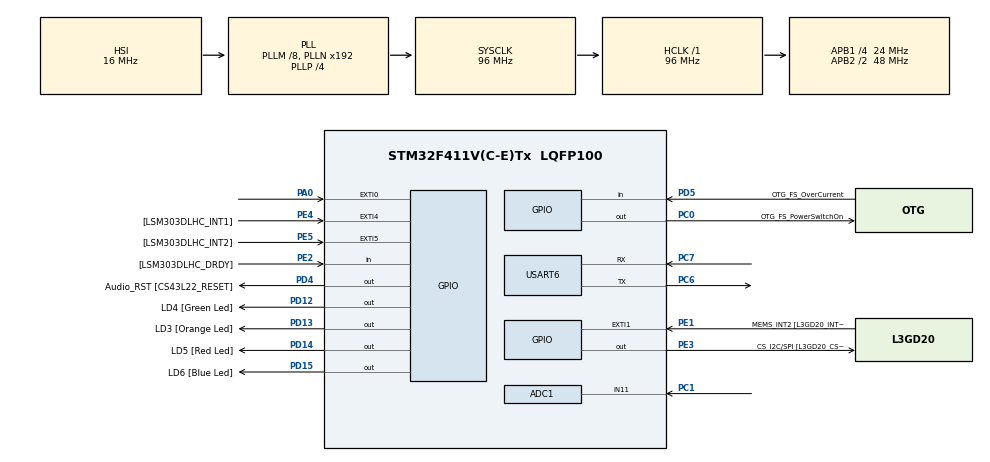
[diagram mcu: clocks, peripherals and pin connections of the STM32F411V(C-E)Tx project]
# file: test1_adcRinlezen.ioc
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ADC1.Channel-0\#ChannelRegularConversion=ADC_CHANNEL_11
ADC1.ContinuousConvMode=ENABLE
ADC1.DMAContinuousRequests=DISABLE
ADC1.NbrOfConversion=1
ADC1.NbrOfConversionFlag=1
ADC1.Rank-0\#ChannelRegularConversion=1
ADC1.Resolution=ADC_RESOLUTION8b
ADC1.SamplingTime-0\#ChannelRegularConversion=ADC_SAMPLETIME_144CYCLES
ADC1.ScanConvMode=DISABLE
ADC1.master=1
Mcu.Family=STM32F4
Mcu.Name=STM32F411V(C-E)Tx
Mcu.Package=LQFP100
NVIC.PriorityGroup=NVIC_PRIORITYGROUP_0
PA0-WKUP.GPIO_ModeDefaultEXTI=GPIO_MODE_EVT_RISING
PA0-WKUP.Signal=GPXTI0
PA10.GPIO_Label=OTG_FS_ID
PA10.Signal=USB_OTG_FS_ID
PA11.GPIO_Label=OTG_FS_DM
PA11.Signal=USB_OTG_FS_DM
PA12.GPIO_Label=OTG_FS_DP
PA12.Signal=USB_OTG_FS_DP
PA13.GPIO_Label=SWDIO
PA13.Signal=SYS_JTMS-SWDIO
PA14.GPIO_Label=SWCLK
PA14.Signal=SYS_JTCK-SWCLK
PA4.GPIO_Label=I2S3_WS [CS43L22_LRCK]
PA4.GPIO_Mode=GPIO_MODE_AF_PP
PA4.GPIO_PuPd=GPIO_NOPULL
PA4.GPIO_Speed=GPIO_SPEED_LOW
PA4.Signal=I2S3_WS
PA5.GPIO_Label=SPI1_SCK [L3GD20_SC/SPC]
PA5.Signal=SPI1_SCK
PA6.GPIO_Label=SPI1_MISO [L3GD20_AS0/SDO]
PA6.Signal=SPI1_MISO
PA7.GPIO_Label=SPI1_MOSI [L3GD20_SDA/SDI/SDO]
PA7.Signal=SPI1_MOSI
PA9.GPIO_Label=VBUS_FS
PA9.Signal=USB_OTG_FS_VBUS
PB10.GPIO_Label=CLK_IN [MP45DT02_CLK]
PB10.Signal=I2S2_CK
PB12.Signal=I2S2_WS
PB3.GPIO_Label=SWO
PB3.Signal=SYS_JTDO-SWO
PB6.GPIO_Label=Audio_SCL [CS43L22_SCL]
PB6.GPIO_Mode=GPIO_MODE_AF_OD
PB6.GPIO_PuPd=GPIO_NOPULL
PB6.GPIO_Speed=GPIO_SPEED_LOW
PB6.Signal=I2C1_SCL
PB9.GPIO_Label=Audio_SDA [CS43L22_SDA]
PB9.GPIO_Mode=GPIO_MODE_AF_OD
PB9.GPIO_PuPd=GPIO_NOPULL
PB9.GPIO_Speed=GPIO_SPEED_LOW
PB9.Signal=I2C1_SDA
PC0.GPIO_Label=OTG_FS_PowerSwitchOn
PC0.Signal=GPIO_Output
PC1.Signal=ADCx_IN11
PC10.GPIO_Label=I2S3_SCK [CS43L22_SCLK]
PC10.GPIO_Mode=GPIO_MODE_AF_PP
PC10.GPIO_PuPd=GPIO_NOPULL
PC10.GPIO_Speed=GPIO_SPEED_LOW
PC10.Signal=I2S3_CK
PC12.GPIO_Label=I2S3_SD [CS43L22_SDIN]
PC12.GPIO_Mode=GPIO_MODE_AF_PP
PC12.GPIO_PuPd=GPIO_NOPULL
PC12.GPIO_Speed=GPIO_SPEED_LOW
PC12.Signal=I2S3_SD
PC14-OSC32_IN.GPIO_Label=PC14-OSC32_IN
PC14-OSC32_IN.Signal=RCC_OSC32_IN
PC15-OSC32_OUT.GPIO_Label=PC15-OSC32_OUT
PC15-OSC32_OUT.Signal=RCC_OSC32_OUT
PC3.GPIO_Label=PDM_OUT [MP45DT02_DOUT]
PC3.Signal=I2S2_SD
PC6.Mode=Asynchronous
PC6.Signal=USART6_TX
PC7.Mode=Asynchronous
PC7.Signal=USART6_RX
PD12.GPIO_Label=LD4 [Green Led]
PD12.GPIO_PuPd=GPIO_NOPULL
PD12.GPIO_Speed=GPIO_SPEED_LOW
PD12.Signal=GPIO_Output
PD13.GPIO_Label=LD3 [Orange Led]
PD13.GPIO_PuPd=GPIO_NOPULL
PD13.GPIO_Speed=GPIO_SPEED_LOW
PD13.Signal=GPIO_Output
PD14.GPIO_Label=LD5 [Red Led]
PD14.GPIO_PuPd=GPIO_NOPULL
PD14.GPIO_Speed=GPIO_SPEED_LOW
PD14.Signal=GPIO_Output
PD15.GPIO_Label=LD6 [Blue Led]
PD15.GPIO_PuPd=GPIO_NOPULL
PD15.GPIO_Speed=GPIO_SPEED_LOW
PD15.Signal=GPIO_Output
PD4.GPIO_Label=Audio_RST [CS43L22_RESET]
PD4.Signal=GPIO_Output
PD5.GPIO_Label=OTG_FS_OverCurrent
PD5.Signal=GPIO_Input
PE1.GPIO_Label=MEMS_INT2 [L3GD20_INT2]
PE1.GPIO_ModeDefaultEXTI=GPIO_MODE_EVT_RISING
PE1.Signal=GPXTI1
PE2.GPIO_Label=[LSM303DLHC_DRDY]
PE2.Signal=GPIO_Input
PE3.GPIO_Label=CS_I2C/SPI [L3GD20_CS_I2C/SPI]
PE3.Signal=GPIO_Output
PE4.GPIO_Label=[LSM303DLHC_INT1]
PE4.GPIO_ModeDefaultEXTI=GPIO_MODE_EVT_RISING
PE4.Signal=GPXTI4
PE5.GPIO_Label=[LSM303DLHC_INT2]
PE5.GPIO_ModeDefaultEXTI=GPIO_MODE_EVT_RISING
PE5.Signal=GPXTI5
PH0\ -\ OSC_IN.GPIO_Label=PH0-OSC_IN
PH0\ -\ OSC_IN.Signal=RCC_OSC_IN
PH1\ -\ OSC_OUT.GPIO_Label=PH1-OSC_OUT
PH1\ -\ OSC_OUT.Signal=RCC_OSC_OUT
ProjectManager.HeapSize=0x400
ProjectManager.StackSize=0x200
ProjectManager.TargetToolchain=TrueSTUDIO
RCC.48MHZClocksFreq_Value=48000000
RCC.AHBFreq_Value=96000000
RCC.APB1CLKDivider=RCC_HCLK_DIV4
RCC.APB1Freq_Value=24000000
RCC.APB1TimFreq_Value=48000000
RCC.APB2CLKDivider=RCC_HCLK_DIV2
RCC.APB2Freq_Value=48000000
RCC.APB2TimFreq_Value=96000000
RCC.CortexFreq_Value=96000000
RCC.HCLKFreq_Value=96000000
RCC.HSE_VALUE=8000000
RCC.HSI_VALUE=16000000
RCC.LSE_VALUE=32768
RCC.PLLI2SM=5
RCC.PLLI2SN=200
RCC.PLLM=8
RCC.PLLP=RCC_PLLP_DIV4
RCC.PLLQ=8
RCC.SYSCLKFreq_VALUE=96000000
RCC.SYSCLKSource=RCC_SYSCLKSOURCE_PLLCLK
RCC.VCOOutputFreq_Value=384000000
SH.ADCx_IN11.0=ADC1_IN11,IN11
board=STM32F411E-DISCO

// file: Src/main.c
/**
  ******************************************************************************
  * File Name          : main.c
  * Description        : Main program body
  ******************************************************************************
  *
  * COPYRIGHT(c) 2016 STMicroelectronics
  *
  * Redistribution and use in source and binary forms, with or without modification,
  * are permitted provided that the following conditions are met:
  *   1. Redistributions of source code must retain the above copyright notice,
  *      this list of conditions and the following disclaimer.
  *   2. Redistributions in binary form must reproduce the above copyright notice,
  *      this list of conditions and the following disclaimer in the documentation
  *      and/or other materials provided with the distribution.
  *   3. Neither the name of STMicroelectronics nor the names of its contributors
  *      may be used to endorse or promote products derived from this software
  *      without specific prior written permission.
  *
  * THIS SOFTWARE IS PROVIDED BY THE COPYRIGHT HOLDERS AND CONTRIBUTORS "AS IS"
  * AND ANY EXPRESS OR IMPLIED WARRANTIES, INCLUDING, BUT NOT LIMITED TO, THE
  * IMPLIED WARRANTIES OF MERCHANTABILITY AND FITNESS FOR A PARTICULAR PURPOSE ARE
  * DISCLAIMED. IN NO EVENT SHALL THE COPYRIGHT HOLDER OR CONTRIBUTORS BE LIABLE
  * FOR ANY DIRECT, INDIRECT, INCIDENTAL, SPECIAL, EXEMPLARY, OR CONSEQUENTIAL
  * DAMAGES (INCLUDING, BUT NOT LIMITED TO, PROCUREMENT OF SUBSTITUTE GOODS OR
  * SERVICES; LOSS OF USE, DATA, OR PROFITS; OR BUSINESS INTERRUPTION) HOWEVER
  * CAUSED AND ON ANY THEORY OF LIABILITY, WHETHER IN CONTRACT, STRICT LIABILITY,
  * OR TORT (INCLUDING NEGLIGENCE OR OTHERWISE) ARISING IN ANY WAY OUT OF THE USE
  * OF THIS SOFTWARE, EVEN IF ADVISED OF THE POSSIBILITY OF SUCH DAMAGE.
  *
  ******************************************************************************
  */
#include "stm32f4xx_hal.h"

/* USER CODE BEGIN Includes */
#include <string.h>
#include <stdio.h>
/* USER CODE END Includes */

ADC_HandleTypeDef hadc1;

UART_HandleTypeDef huart6;

/* USER CODE BEGIN PV */
//uint32_t adcVal = 0;
/* Private variables ---------------------------------------------------------*/

/* USER CODE END PV */

void SystemClock_Config(void);
static void MX_GPIO_Init(void);
static void MX_ADC1_Init(void);
static void MX_USART6_UART_Init(void);

/* USER CODE BEGIN PFP */
/* Private function prototypes -----------------------------------------------*/

/* USER CODE END PFP */

int main(void)
{

  /* USER CODE BEGIN 1 */
	uint32_t adcVal = 0;
	char buffer[50] = {"buffer"};
  /* USER CODE END 1 */

  /* MCU Configuration----------------------------------------------------------*/

  /* Reset of all peripherals, Initializes the Flash interface and the Systick. */
  HAL_Init();

  /* Configure the system clock */
  SystemClock_Config();

  /* Initialize all configured peripherals */
  MX_GPIO_Init();
  MX_ADC1_Init();
  MX_USART6_UART_Init();

  /* USER CODE BEGIN 2 */
HAL_ADC_Start(&hadc1);
//HAL_UART_Transmit(&huart6,(uint8_t*) "azerty\r\n",8,HAL_MAX_DELAY);
  /* USER CODE END 2 */

  /* Infinite loop */
  while (1)
  {

  /* USER CODE BEGIN 3 */
	  //stap 1 -> lees adc
	  	adcVal =  HAL_ADC_GetValue(&hadc1);
	  	if(HAL_GPIO_ReadPin(GPIOA,GPIO_PIN_0))
	  	{
	  		//sprintf(buffer,"Hellow d\r\n");
	  		HAL_UART_Transmit(&huart6,(uint8_t*) buffer,strlen(buffer),HAL_MAX_DELAY);
	  	}
	  	//stap2 -> display op leds
	  	if(adcVal < 64)
	  	{
	  		HAL_GPIO_WritePin(GPIOD,GPIO_PIN_12,GPIO_PIN_SET);
	  		HAL_GPIO_WritePin(GPIOD,GPIO_PIN_13,GPIO_PIN_RESET);
	  		HAL_GPIO_WritePin(GPIOD,GPIO_PIN_14,GPIO_PIN_RESET);
	  		HAL_GPIO_WritePin(GPIOD,GPIO_PIN_15,GPIO_PIN_RESET);
	  	}
	  	else if(adcVal < 128)
	  	{
	  		HAL_GPIO_WritePin(GPIOD,GPIO_PIN_12,GPIO_PIN_RESET);
	  		HAL_GPIO_WritePin(GPIOD,GPIO_PIN_13,GPIO_PIN_SET);
	  		HAL_GPIO_WritePin(GPIOD,GPIO_PIN_14,GPIO_PIN_RESET);
	  		HAL_GPIO_WritePin(GPIOD,GPIO_PIN_15,GPIO_PIN_RESET);
	  	}
	  	else if(adcVal < 196)
	  	{
	  		HAL_GPIO_WritePin(GPIOD,GPIO_PIN_12,GPIO_PIN_RESET);
	  		HAL_GPIO_WritePin(GPIOD,GPIO_PIN_13,GPIO_PIN_RESET);
	  		HAL_GPIO_WritePin(GPIOD,GPIO_PIN_14,GPIO_PIN_SET);
	  		HAL_GPIO_WritePin(GPIOD,GPIO_PIN_15,GPIO_PIN_RESET);
	  	}
	  	else if(adcVal < 255)
	  	{
	  		HAL_GPIO_WritePin(GPIOD,GPIO_PIN_12,GPIO_PIN_RESET);
	  		HAL_GPIO_WritePin(GPIOD,GPIO_PIN_13,GPIO_PIN_RESET);
	  		HAL_GPIO_WritePin(GPIOD,GPIO_PIN_14,GPIO_PIN_RESET);
	  		HAL_GPIO_WritePin(GPIOD,GPIO_PIN_15,GPIO_PIN_SET);
	  	}
  }
  /* USER CODE END 3 */

}

/** System Clock Configuration
*/
void SystemClock_Config(void)
{

  RCC_OscInitTypeDef RCC_OscInitStruct;
  RCC_ClkInitTypeDef RCC_ClkInitStruct;

  __PWR_CLK_ENABLE();

  __HAL_PWR_VOLTAGESCALING_CONFIG(PWR_REGULATOR_VOLTAGE_SCALE1);

  RCC_OscInitStruct.OscillatorType = RCC_OSCILLATORTYPE_HSI;
  RCC_OscInitStruct.HSIState = RCC_HSI_ON;
  RCC_OscInitStruct.HSICalibrationValue = 16;
  RCC_OscInitStruct.PLL.PLLState = RCC_PLL_ON;
  RCC_OscInitStruct.PLL.PLLSource = RCC_PLLSOURCE_HSI;
  RCC_OscInitStruct.PLL.PLLM = 8;
  RCC_OscInitStruct.PLL.PLLN = 192;
  RCC_OscInitStruct.PLL.PLLP = RCC_PLLP_DIV4;
  RCC_OscInitStruct.PLL.PLLQ = 8;
  HAL_RCC_OscConfig(&RCC_OscInitStruct);

  RCC_ClkInitStruct.ClockType = RCC_CLOCKTYPE_HCLK|RCC_CLOCKTYPE_SYSCLK
                              |RCC_CLOCKTYPE_PCLK1|RCC_CLOCKTYPE_PCLK2;
  RCC_ClkInitStruct.SYSCLKSource = RCC_SYSCLKSOURCE_PLLCLK;
  RCC_ClkInitStruct.AHBCLKDivider = RCC_SYSCLK_DIV1;
  RCC_ClkInitStruct.APB1CLKDivider = RCC_HCLK_DIV4;
  RCC_ClkInitStruct.APB2CLKDivider = RCC_HCLK_DIV2;
  HAL_RCC_ClockConfig(&RCC_ClkInitStruct, FLASH_LATENCY_3);

  HAL_SYSTICK_Config(HAL_RCC_GetHCLKFreq()/1000);

  HAL_SYSTICK_CLKSourceConfig(SYSTICK_CLKSOURCE_HCLK);

  /* SysTick_IRQn interrupt configuration */
  HAL_NVIC_SetPriority(SysTick_IRQn, 0, 0);
}

/* ADC1 init function */
void MX_ADC1_Init(void)
{

  ADC_ChannelConfTypeDef sConfig;

    /**Configure the global features of the ADC (Clock, Resolution, Data Alignment and number of conversion)
    */
  hadc1.Instance = ADC1;
  hadc1.Init.ClockPrescaler = ADC_CLOCKPRESCALER_PCLK_DIV2;
  hadc1.Init.Resolution = ADC_RESOLUTION8b;
  hadc1.Init.ScanConvMode = DISABLE;
  hadc1.Init.ContinuousConvMode = ENABLE;
  hadc1.Init.DiscontinuousConvMode = DISABLE;
  hadc1.Init.ExternalTrigConvEdge = ADC_EXTERNALTRIGCONVEDGE_NONE;
  hadc1.Init.DataAlign = ADC_DATAALIGN_RIGHT;
  hadc1.Init.NbrOfConversion = 1;
  hadc1.Init.DMAContinuousRequests = DISABLE;
  hadc1.Init.EOCSelection = EOC_SINGLE_CONV;
  HAL_ADC_Init(&hadc1);

    /**Configure for the selected ADC regular channel its corresponding rank in the sequencer and its sample time.
    */
  sConfig.Channel = ADC_CHANNEL_11;
  sConfig.Rank = 1;
  sConfig.SamplingTime = ADC_SAMPLETIME_144CYCLES;
  HAL_ADC_ConfigChannel(&hadc1, &sConfig);

}

/* USART6 init function */
void MX_USART6_UART_Init(void)
{

  huart6.Instance = USART6;
  huart6.Init.BaudRate = 115200;
  huart6.Init.WordLength = UART_WORDLENGTH_8B;
  huart6.Init.StopBits = UART_STOPBITS_1;
  huart6.Init.Parity = UART_PARITY_NONE;
  huart6.Init.Mode = UART_MODE_TX_RX;
  huart6.Init.HwFlowCtl = UART_HWCONTROL_NONE;
  huart6.Init.OverSampling = UART_OVERSAMPLING_16;
  HAL_UART_Init(&huart6);

}

/** Configure pins as
        * Analog
        * Input
        * Output
        * EVENT_OUT
        * EXTI
     PC3   ------> I2S2_SD
     PA4   ------> I2S3_WS
     PA5   ------> SPI1_SCK
     PA6   ------> SPI1_MISO
     PA7   ------> SPI1_MOSI
     PB10   ------> I2S2_CK
     PB12   ------> I2S2_WS
     PA9   ------> USB_OTG_FS_VBUS
     PA10   ------> USB_OTG_FS_ID
     PA11   ------> USB_OTG_FS_DM
     PA12   ------> USB_OTG_FS_DP
     PC10   ------> I2S3_CK
     PC12   ------> I2S3_SD
     PB6   ------> I2C1_SCL
     PB9   ------> I2C1_SDA
*/
void MX_GPIO_Init(void)
{

  GPIO_InitTypeDef GPIO_InitStruct;

  /* GPIO Ports Clock Enable */
  __GPIOE_CLK_ENABLE();
  __GPIOC_CLK_ENABLE();
  __GPIOH_CLK_ENABLE();
  __GPIOA_CLK_ENABLE();
  __GPIOB_CLK_ENABLE();
  __GPIOD_CLK_ENABLE();

  /*Configure GPIO pin : PE2 */
  GPIO_InitStruct.Pin = GPIO_PIN_2;
  GPIO_InitStruct.Mode = GPIO_MODE_INPUT;
  GPIO_InitStruct.Pull = GPIO_NOPULL;
  HAL_GPIO_Init(GPIOE, &GPIO_InitStruct);

  /*Configure GPIO pin : CS_I2C_SPI_Pin */
  GPIO_InitStruct.Pin = CS_I2C_SPI_Pin;
  GPIO_InitStruct.Mode = GPIO_MODE_OUTPUT_PP;
  GPIO_InitStruct.Pull = GPIO_NOPULL;
  GPIO_InitStruct.Speed = GPIO_SPEED_LOW;
  HAL_GPIO_Init(CS_I2C_SPI_GPIO_Port, &GPIO_InitStruct);

  /*Configure GPIO pins : PE4 PE5 MEMS_INT2_Pin */
  GPIO_InitStruct.Pin = GPIO_PIN_4|GPIO_PIN_5|MEMS_INT2_Pin;
  GPIO_InitStruct.Mode = GPIO_MODE_EVT_RISING;
  GPIO_InitStruct.Pull = GPIO_NOPULL;
  HAL_GPIO_Init(GPIOE, &GPIO_InitStruct);

  /*Configure GPIO pin : OTG_FS_PowerSwitchOn_Pin */
  GPIO_InitStruct.Pin = OTG_FS_PowerSwitchOn_Pin;
  GPIO_InitStruct.Mode = GPIO_MODE_OUTPUT_PP;
  GPIO_InitStruct.Pull = GPIO_NOPULL;
  GPIO_InitStruct.Speed = GPIO_SPEED_LOW;
  HAL_GPIO_Init(OTG_FS_PowerSwitchOn_GPIO_Port, &GPIO_InitStruct);

  /*Configure GPIO pin : PDM_OUT_Pin */
  GPIO_InitStruct.Pin = PDM_OUT_Pin;
  GPIO_InitStruct.Mode = GPIO_MODE_AF_PP;
  GPIO_InitStruct.Pull = GPIO_NOPULL;
  GPIO_InitStruct.Speed = GPIO_SPEED_LOW;
  GPIO_InitStruct.Alternate = GPIO_AF5_SPI2;
  HAL_GPIO_Init(PDM_OUT_GPIO_Port, &GPIO_InitStruct);

  /*Configure GPIO pin : PA0 */
  GPIO_InitStruct.Pin = GPIO_PIN_0;
  GPIO_InitStruct.Mode = GPIO_MODE_EVT_RISING;
  GPIO_InitStruct.Pull = GPIO_NOPULL;
  HAL_GPIO_Init(GPIOA, &GPIO_InitStruct);

  /*Configure GPIO pin : PA4 */
  GPIO_InitStruct.Pin = GPIO_PIN_4;
  GPIO_InitStruct.Mode = GPIO_MODE_AF_PP;
  GPIO_InitStruct.Pull = GPIO_NOPULL;
  GPIO_InitStruct.Speed = GPIO_SPEED_LOW;
  GPIO_InitStruct.Alternate = GPIO_AF6_SPI3;
  HAL_GPIO_Init(GPIOA, &GPIO_InitStruct);

  /*Configure GPIO pins : PA5 PA6 PA7 */
  GPIO_InitStruct.Pin = GPIO_PIN_5|GPIO_PIN_6|GPIO_PIN_7;
  GPIO_InitStruct.Mode = GPIO_MODE_AF_PP;
  GPIO_InitStruct.Pull = GPIO_NOPULL;
  GPIO_InitStruct.Speed = GPIO_SPEED_HIGH;
  GPIO_InitStruct.Alternate = GPIO_AF5_SPI1;
  HAL_GPIO_Init(GPIOA, &GPIO_InitStruct);

  /*Configure GPIO pins : CLK_IN_Pin PB12 */
  GPIO_InitStruct.Pin = CLK_IN_Pin|GPIO_PIN_12;
  GPIO_InitStruct.Mode = GPIO_MODE_AF_PP;
  GPIO_InitStruct.Pull = GPIO_NOPULL;
  GPIO_InitStruct.Speed = GPIO_SPEED_LOW;
  GPIO_InitStruct.Alternate = GPIO_AF5_SPI2;
  HAL_GPIO_Init(GPIOB, &GPIO_InitStruct);

  /*Configure GPIO pins : LD4_Pin LD3_Pin LD5_Pin LD6_Pin
                           Audio_RST_Pin */
  GPIO_InitStruct.Pin = LD4_Pin|LD3_Pin|LD5_Pin|LD6_Pin
                          |Audio_RST_Pin;
  GPIO_InitStruct.Mode = GPIO_MODE_OUTPUT_PP;
  GPIO_InitStruct.Pull = GPIO_NOPULL;
  GPIO_InitStruct.Speed = GPIO_SPEED_LOW;
  HAL_GPIO_Init(GPIOD, &GPIO_InitStruct);

  /*Configure GPIO pin : VBUS_FS_Pin */
  GPIO_InitStruct.Pin = VBUS_FS_Pin;
  GPIO_InitStruct.Mode = GPIO_MODE_INPUT;
  GPIO_InitStruct.Pull = GPIO_NOPULL;
  HAL_GPIO_Init(VBUS_FS_GPIO_Port, &GPIO_InitStruct);

  /*Configure GPIO pins : OTG_FS_ID_Pin OTG_FS_DM_Pin OTG_FS_DP_Pin */
  GPIO_InitStruct.Pin = OTG_FS_ID_Pin|OTG_FS_DM_Pin|OTG_FS_DP_Pin;
  GPIO_InitStruct.Mode = GPIO_MODE_AF_PP;
  GPIO_InitStruct.Pull = GPIO_NOPULL;
  GPIO_InitStruct.Speed = GPIO_SPEED_HIGH;
  GPIO_InitStruct.Alternate = GPIO_AF10_OTG_FS;
  HAL_GPIO_Init(GPIOA, &GPIO_InitStruct);

  /*Configure GPIO pins : I2S3_SCK_Pin PC12 */
  GPIO_InitStruct.Pin = I2S3_SCK_Pin|GPIO_PIN_12;
  GPIO_InitStruct.Mode = GPIO_MODE_AF_PP;
  GPIO_InitStruct.Pull = GPIO_NOPULL;
  GPIO_InitStruct.Speed = GPIO_SPEED_LOW;
  GPIO_InitStruct.Alternate = GPIO_AF6_SPI3;
  HAL_GPIO_Init(GPIOC, &GPIO_InitStruct);

  /*Configure GPIO pin : OTG_FS_OverCurrent_Pin */
  GPIO_InitStruct.Pin = OTG_FS_OverCurrent_Pin;
  GPIO_InitStruct.Mode = GPIO_MODE_INPUT;
  GPIO_InitStruct.Pull = GPIO_NOPULL;
  HAL_GPIO_Init(OTG_FS_OverCurrent_GPIO_Port, &GPIO_InitStruct);

  /*Configure GPIO pins : Audio_SCL_Pin Audio_SDA_Pin */
  GPIO_InitStruct.Pin = Audio_SCL_Pin|Audio_SDA_Pin;
  GPIO_InitStruct.Mode = GPIO_MODE_AF_OD;
  GPIO_InitStruct.Pull = GPIO_PULLUP;
  GPIO_InitStruct.Speed = GPIO_SPEED_LOW;
  GPIO_InitStruct.Alternate = GPIO_AF4_I2C1;
  HAL_GPIO_Init(GPIOB, &GPIO_InitStruct);

  /*Configure GPIO pin Output Level */
  HAL_GPIO_WritePin(CS_I2C_SPI_GPIO_Port, CS_I2C_SPI_Pin, GPIO_PIN_RESET);

  /*Configure GPIO pin Output Level */
  HAL_GPIO_WritePin(OTG_FS_PowerSwitchOn_GPIO_Port, OTG_FS_PowerSwitchOn_Pin, GPIO_PIN_RESET);

  /*Configure GPIO pin Output Level */
  HAL_GPIO_WritePin(GPIOD, LD4_Pin|LD3_Pin|LD5_Pin|LD6_Pin
                          |Audio_RST_Pin, GPIO_PIN_RESET);

}

/************************ (C) COPYRIGHT STMicroelectronics *****END OF FILE****/
